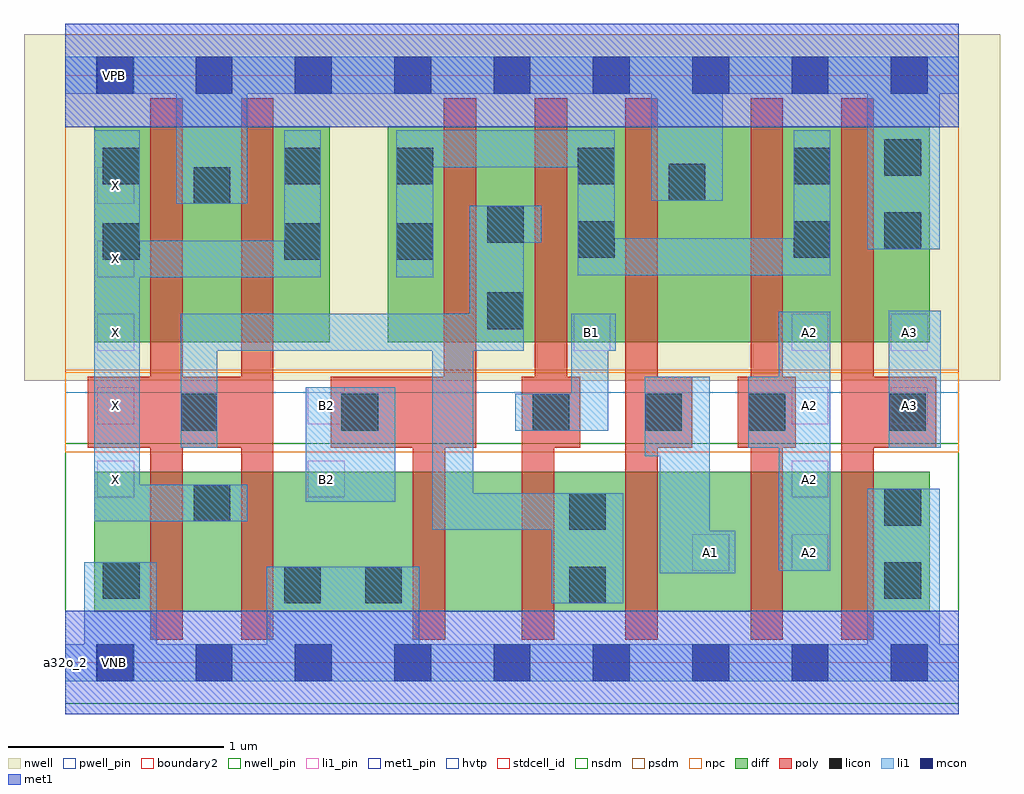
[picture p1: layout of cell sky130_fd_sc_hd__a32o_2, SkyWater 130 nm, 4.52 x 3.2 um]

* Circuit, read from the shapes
.subckt sky130_fd_sc_hd__a32o_2 A1 A2 A3 B1 B2 VGND VNB VPB VPWR X
XM1 X n1 VGND VNB sky130_fd_pr__nfet_01v8 w=0.65 l=0.15 m=2
XM2 n2 B2 VGND VNB sky130_fd_pr__nfet_01v8 w=0.65 l=0.15
XM3 n1 B1 n2 VNB sky130_fd_pr__nfet_01v8 w=0.65 l=0.15
XM4 n3 A1 n1 VNB sky130_fd_pr__nfet_01v8 w=0.65 l=0.15
XM5 n4 A2 n3 VNB sky130_fd_pr__nfet_01v8 w=0.65 l=0.15
XM6 VGND A3 n4 VNB sky130_fd_pr__nfet_01v8 w=0.65 l=0.15
XM7 VPWR n1 X VPB sky130_fd_pr__pfet_01v8_hvt w=1 l=0.15 m=2
XM8 n1 B2 n5 VPB sky130_fd_pr__pfet_01v8_hvt w=1 l=0.15
XM9 n5 B1 n1 VPB sky130_fd_pr__pfet_01v8_hvt w=1 l=0.15
XM10 VPWR A1 n5 VPB sky130_fd_pr__pfet_01v8_hvt w=1 l=0.15
XM11 n5 A2 VPWR VPB sky130_fd_pr__pfet_01v8_hvt w=1 l=0.15
XM12 VPWR A3 n5 VPB sky130_fd_pr__pfet_01v8_hvt w=1 l=0.15
.ends

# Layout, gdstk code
import gdstk
lib = gdstk.Library(unit=1e-6, precision=1e-09)
def R(c, l, rs):  # rectangles x0, y0, x1, y1
    for r in rs: c.add(gdstk.rectangle(r[:2], r[2:], *l))
def A(c, l, x, y, w, h, nx, ny, dx, dy):  # array of equal rectangles
    R(c, l, [(x+i*dx, y+j*dy, x+i*dx+w, y+j*dy+h) for i in range(nx) for j in range(ny)])
def P(c, l, *ps):  # polygons
    for p in ps: c.add(gdstk.Polygon(p, *l))
nwell_pin = (64, 16)
nwell = (64, 20)
diff = (65, 20)
poly = (66, 20)
licon = (66, 44)
li1_pin = (67, 16)
li1 = (67, 20)
mcon = (67, 44)
met1_pin = (68, 16)
met1 = (68, 20)
hvtp = (78, 44)
stdcell_id = (81, 4)
nsdm = (93, 44)
psdm = (94, 20)
npc = (95, 20)
pwell_pin = (122, 16)
boundary2 = (236, 0)

sky130_fd_sc_hd__a32o_2 = lib.new_cell('sky130_fd_sc_hd__a32o_2')
R(sky130_fd_sc_hd__a32o_2, nwell_pin, [(0.15,2.635,0.32,2.805)])
R(sky130_fd_sc_hd__a32o_2, nwell, [(-0.19,1.305,4.33,2.91)])
R(sky130_fd_sc_hd__a32o_2, diff, [(0.135,0.235,4.005,0.885), (0.135,1.485,1.225,2.485), (1.495,1.485,4.005,2.485)])
A(sky130_fd_sc_hd__a32o_2, poly, 1.755, 1.325, 0.15, 1.29, 3, 1, 0.42, 0)
R(sky130_fd_sc_hd__a32o_2, poly, [(2.115,0.105,2.265,1), (3.595,0.105,3.745,0.995), (2.115,0.995,2.385,1.325)])
P(sky130_fd_sc_hd__a32o_2, poly, [(1.61,0.105),(1.61,0.995),(1.23,0.995),(1.23,1.325),(1.905,1.325),(1.905,0.995),(1.76,0.995),(1.76,0.105)],
  [(3.595,0.995),(3.595,2.615),(3.745,2.615),(3.745,1.325),(4.035,1.325),(4.035,0.995)],
  [(3.175,0.105),(3.175,0.995),(3.115,0.995),(3.115,1.325),(3.175,1.325),(3.175,2.615),(3.325,2.615),(3.325,1.325),(3.385,1.325),(3.385,0.995),(3.325,0.995),(3.325,0.105)],
  [(2.595,0.105),(2.595,1.325),(2.905,1.325),(2.905,0.995),(2.745,0.995),(2.745,0.105)],
  [(0.395,0.105),(0.395,0.995),(0.105,0.995),(0.105,1.325),(0.395,1.325),(0.395,2.615),(0.545,2.615),(0.545,1.325),(0.815,1.325),(0.815,2.615),(0.965,2.615),(0.965,0.105),(0.815,0.105),(0.815,0.995),(0.545,0.995),(0.545,0.105)])
R(sky130_fd_sc_hd__a32o_2, licon, [(1.015,0.275,1.185,0.445), (1.39,0.275,1.56,0.445), (2.335,0.275,2.505,0.445), (0.175,0.295,0.345,0.465), (3.795,0.295,3.965,0.465), (2.335,0.615,2.505,0.785), (3.795,0.635,3.965,0.805), (0.595,0.655,0.765,0.825), (0.535,1.075,0.705,1.245), (1.28,1.075,1.45,1.245), (2.165,1.075,2.335,1.245), (2.685,1.075,2.855,1.245), (3.165,1.075,3.335,1.245), (3.815,1.075,3.985,1.245), (1.955,1.545,2.125,1.715), (0.175,1.865,0.345,2.035), (1.015,1.865,1.185,2.035), (1.535,1.865,1.705,2.035), (2.375,1.875,2.545,2.045), (3.375,1.875,3.545,2.045), (3.795,1.915,3.965,2.085), (1.955,1.945,2.125,2.115), (0.595,2.125,0.765,2.295), (2.795,2.14,2.965,2.31), (0.175,2.215,0.345,2.385), (1.015,2.215,1.185,2.385), (1.535,2.215,1.705,2.385), (2.375,2.215,2.545,2.385), (3.375,2.215,3.545,2.385), (3.795,2.255,3.965,2.425)])
A(sky130_fd_sc_hd__a32o_2, li1_pin, 3.365, 0.425, 0.17, 0.17, 1, 4, 0, 0.34)
A(sky130_fd_sc_hd__a32o_2, li1_pin, 0.15, 0.765, 0.17, 0.17, 1, 5, 0, 0.34)
R(sky130_fd_sc_hd__a32o_2, li1_pin, [(2.905,0.425,3.075,0.595), (1.125,0.765,1.295,0.935), (1.125,1.105,1.295,1.275), (3.825,1.105,3.995,1.275), (2.355,1.445,2.525,1.615), (3.825,1.445,3.995,1.615)])
R(sky130_fd_sc_hd__a32o_2, li1, [(1.115,0.745,1.53,1.275), (3.815,0.995,4.055,1.63)])
P(sky130_fd_sc_hd__a32o_2, li1, [(2.255,0.275),(2.255,0.615),(1.7,0.615),(1.7,1.445),(0.705,1.445),(0.705,0.995),(0.535,0.995),(0.535,1.615),(1.875,1.615),(1.875,2.115),(2.205,2.115),(2.205,1.945),(2.125,1.945),(2.125,1.445),(1.89,1.445),(1.89,0.785),(2.585,0.785),(2.585,0.275)],
  [(0.135,0.655),(0.135,2.465),(0.345,2.465),(0.345,1.955),(1.015,1.955),(1.015,2.465),(1.185,2.465),(1.185,1.785),(0.345,1.785),(0.345,0.825),(0.845,0.825),(0.845,0.655)],
  [(3.715,1.915),(3.715,2.635),(3.045,2.635),(3.045,2.14),(2.715,2.14),(2.715,2.635),(0.845,2.635),(0.845,2.125),(0.515,2.125),(0.515,2.635),(0,2.635),(0,2.805),(4.14,2.805),(4.14,2.635),(4.05,2.635),(4.05,1.915)],
  [(2.085,1.075),(2.085,1.245),(2.345,1.245),(2.345,1.615),(2.55,1.615),(2.55,1.445),(2.515,1.445),(2.515,1.075)],
  [(0,-0.085),(0,0.085),(0.09,0.085),(0.09,0.465),(0.425,0.465),(0.425,0.085),(0.935,0.085),(0.935,0.445),(1.64,0.445),(1.64,0.085),(3.715,0.085),(3.715,0.805),(4.05,0.805),(4.05,0.085),(4.14,0.085),(4.14,-0.085)],
  [(3.305,0.425),(3.305,0.995),(3.165,0.995),(3.165,1.325),(3.305,1.325),(3.305,1.625),(3.545,1.625),(3.545,0.425)],
  [(1.535,1.785),(1.535,2.465),(2.545,2.465),(2.545,1.965),(3.375,1.965),(3.375,2.465),(3.545,2.465),(3.545,1.795),(2.375,1.795),(2.375,2.295),(1.705,2.295),(1.705,1.785)],
  [(2.755,0.415),(2.755,0.955),(2.685,0.955),(2.685,1.325),(2.985,1.325),(2.985,0.61),(3.105,0.61),(3.105,0.415)])
A(sky130_fd_sc_hd__a32o_2, mcon, 0.145, -0.085, 0.17, 0.17, 9, 2, 0.46, 2.72)
R(sky130_fd_sc_hd__a32o_2, met1_pin, [(0.15,-0.085,0.32,0.085), (0.15,2.635,0.32,2.805)])
R(sky130_fd_sc_hd__a32o_2, hvtp, [(0,1.25,4.14,2.72)])
R(sky130_fd_sc_hd__a32o_2, stdcell_id, [(0,0,4.14,2.72)])
R(sky130_fd_sc_hd__a32o_2, nsdm, [(0,-0.19,4.14,1.015)])
R(sky130_fd_sc_hd__a32o_2, psdm, [(0,1.355,4.14,2.91)])
R(sky130_fd_sc_hd__a32o_2, npc, [(0,0.975,4.14,1.345)])
R(sky130_fd_sc_hd__a32o_2, pwell_pin, [(0.15,-0.085,0.32,0.085)])
R(sky130_fd_sc_hd__a32o_2, boundary2, [(0,0,4.14,2.72)])
sky130_fd_sc_hd__a32o_2.add(gdstk.FlexPath([(0,2.72),(4.14,2.72)], 0.48, ends="flush", simple_path=True, layer=68, datatype=20))  # met1
sky130_fd_sc_hd__a32o_2.add(gdstk.FlexPath([(0,0),(4.14,0)], 0.48, ends="flush", simple_path=True, layer=68, datatype=20))  # met1
sky130_fd_sc_hd__a32o_2.add(gdstk.Label('B2', (1.21,0.85), layer=67, texttype=5))
sky130_fd_sc_hd__a32o_2.add(gdstk.Label('X', (0.235,1.53), layer=67, texttype=5))
sky130_fd_sc_hd__a32o_2.add(gdstk.Label('A2', (3.45,0.51), layer=67, texttype=5))
sky130_fd_sc_hd__a32o_2.add(gdstk.Label('A2', (3.45,0.85), layer=67, texttype=5))
sky130_fd_sc_hd__a32o_2.add(gdstk.Label('A3', (3.91,1.53), layer=67, texttype=5))
sky130_fd_sc_hd__a32o_2.add(gdstk.Label('A2', (3.45,1.19), layer=67, texttype=5))
sky130_fd_sc_hd__a32o_2.add(gdstk.Label('A2', (3.45,1.53), layer=67, texttype=5))
sky130_fd_sc_hd__a32o_2.add(gdstk.Label('A3', (3.91,1.19), layer=67, texttype=5))
sky130_fd_sc_hd__a32o_2.add(gdstk.Label('A1', (2.99,0.51), layer=67, texttype=5))
sky130_fd_sc_hd__a32o_2.add(gdstk.Label('X', (0.235,1.19), layer=67, texttype=5))
sky130_fd_sc_hd__a32o_2.add(gdstk.Label('X', (0.235,2.21), layer=67, texttype=5))
sky130_fd_sc_hd__a32o_2.add(gdstk.Label('X', (0.235,1.87), layer=67, texttype=5))
sky130_fd_sc_hd__a32o_2.add(gdstk.Label('B2', (1.21,1.19), layer=67, texttype=5))
sky130_fd_sc_hd__a32o_2.add(gdstk.Label('B1', (2.44,1.53), layer=67, texttype=5))
sky130_fd_sc_hd__a32o_2.add(gdstk.Label('X', (0.235,0.85), layer=67, texttype=5))
sky130_fd_sc_hd__a32o_2.add(gdstk.Label('VNB', (0.23,0), layer=64, texttype=59))
sky130_fd_sc_hd__a32o_2.add(gdstk.Label('VPB', (0.23,2.72), layer=64, texttype=5))
sky130_fd_sc_hd__a32o_2.add(gdstk.Label('VGND', (0.23,0), layer=68, texttype=5))
sky130_fd_sc_hd__a32o_2.add(gdstk.Label('VPWR', (0.23,2.72), layer=68, texttype=5))
sky130_fd_sc_hd__a32o_2.add(gdstk.Label('a32o_2', (0,0), layer=83, texttype=44))

lib.write_gds('sky130_fd_sc_hd__a32o_2.gds')
